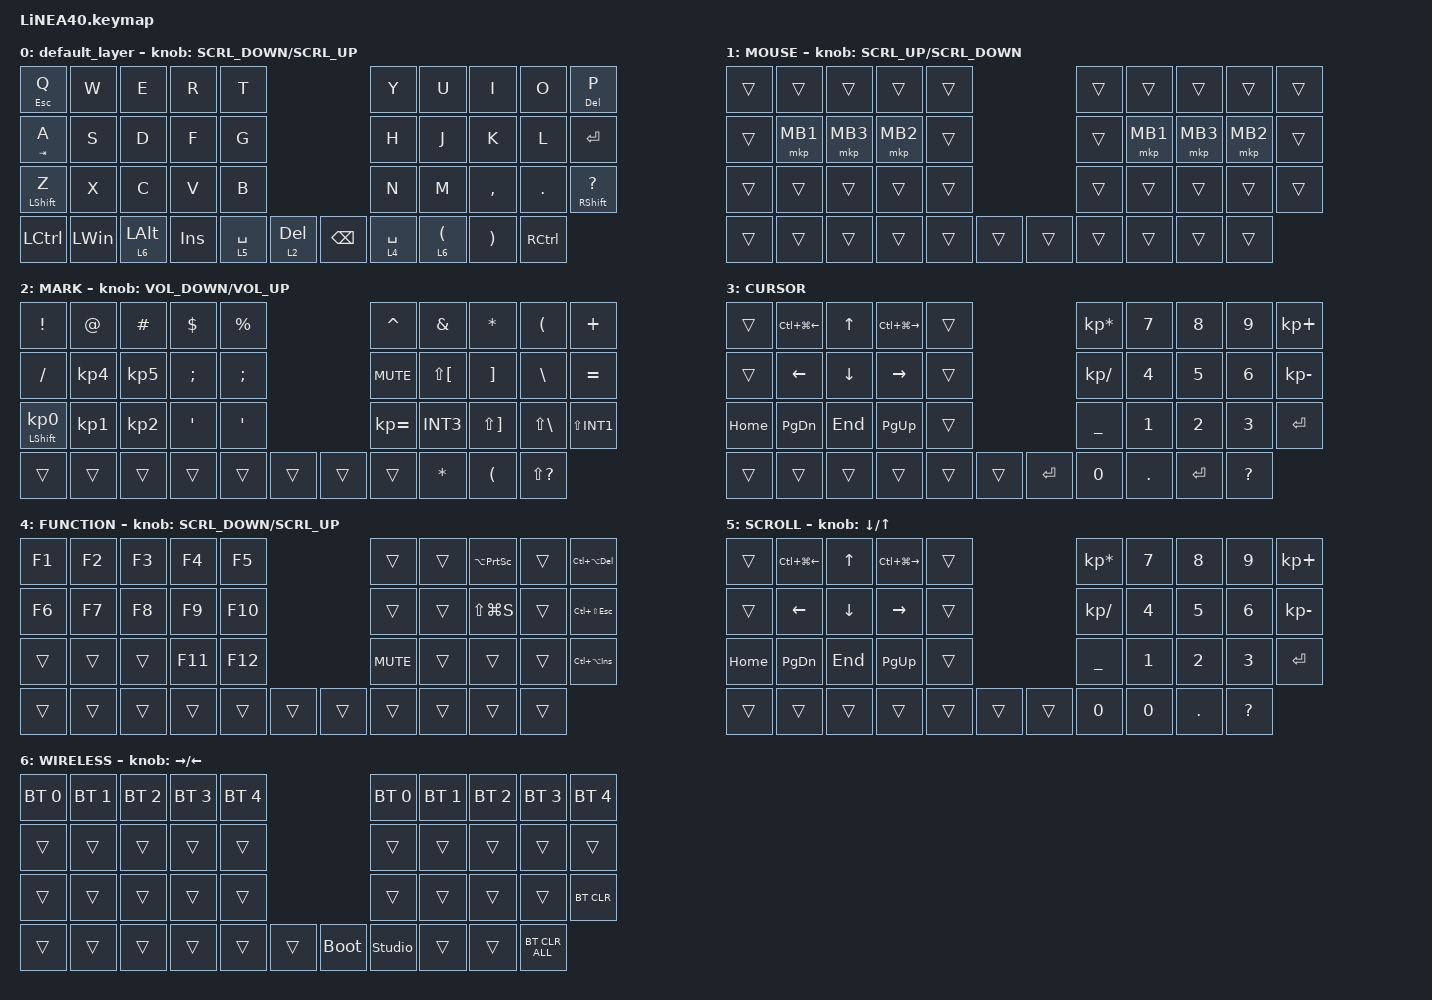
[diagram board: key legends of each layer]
#define ZMK_POINTING_DEFAULT_SCRL_VAL 150

// OS設定を日本語キーボードのまま使用するための変換定義

#define JP_DQUOTE       AT                // "
#define JP_AMPERSAND    CARET             // &
#define JP_QUOTE        AMPERSAND         // '
#define JP_EQUAL        UNDER             // =
#define JP_CARET        EQUAL             // ^
#define JP_YEN          0x89              // ¥
#define JP_PLUS         COLON             // +
#define JP_TILDE        PLUS              // ~
#define JP_PIPE         LS(0x89)          // |
#define JP_AT           LEFT_BRACKET      // @
#define JP_COLON        SINGLE_QUOTE      // :
#define JP_ASTERISK     DOUBLE_QUOTES     // *
#define JP_BACKQUOTE    LEFT_BRACE        // `
#define JP_UNDERSCORE   LS(0x87)          // _
#define JP_LBRACKET     RIGHT_BRACKET     // [
#define JP_RBRACKET     BACKSLASH         // ]
#define JP_LPAREN       ASTERISK          // (
#define JP_RPAREN       LEFT_PARENTHESIS  // )
#define JP_LBRACE       RIGHT_BRACE       // {
#define JP_RBRACE       PIPE              // }
#define JP_KANA         LANGUAGE_1        // かな
#define JP_EISU         LANGUAGE_2        // 英数
#define JP_HANZEN       GRAVE             // 半角/全角

#include <dt-bindings/zmk/input_transform.h>
#include <input/processors.dtsi>
#include <zephyr/dt-bindings/input/input-event-codes.h>
#include <behaviors.dtsi>
#include <dt-bindings/zmk/bt.h>
#include <dt-bindings/zmk/keys.h>
#include <dt-bindings/zmk/pointing.h>

#define MOUSE 1
#define MARK 2
#define CURSOR 3
#define FUNCTION 4
#define SCROLL 5
#define WIRELESS 6

//mouse cursol

&mmv {
    delay-ms = <20>;
    trigger-period-ms = <5>;
    time-to-max-speed-ms = <100>;
    acceleration-exponent = <2>;
};

//mouse scroll

&msc {
    delay-ms = <3>;
    trigger-period-ms = <3>;
    time-to-max-speed-ms = <100>;
    acceleration-exponent = <0>;
};

/ {
    input_processors {
        zip_wheel_scaler: zip_wheel_scaler {
            compatible = "zmk,input-processor-scaler";
            #input-processor-cells = <2>;
            type = <INPUT_EV_REL>;
            codes = <INPUT_REL_WHEEL>;
            track-remainders;
        };
    };
};

&msc_input_listener {
    speed_up {
        layers = <FUNCTION>;
        input-processors = <&zip_wheel_scaler 3 1>; //スクロールを3倍速にする
    };
};

&trackball_listener {
    scroller {
        layers = <SCROLL>;
        input-processors =
            <&zip_xy_transform INPUT_TRANSFORM_Y_INVERT>,
            //スクロール方向を逆転,,,,,,
            <&zip_xy_to_scroll_mapper>;
    };
};

/ {
    combos {
        compatible = "zmk,combos";

        ZenkakuHankaku {
            bindings = <&kp GRAVE>;
            key-positions = <11 12>;
        };

        DeleteKey {
            bindings = <&kp DEL>;
            key-positions = <7 8>;
        };

        InsertKey {
            bindings = <&kp INS>;
            key-positions = <6 7>;
        };

        CenterClick {
            bindings = <&mkp MB3>;
            key-positions = <17 16>;
        };

        RightClick {
            bindings = <&mkp MB2>;
            key-positions = <18 17>;
        };

        PrevClick {
            bindings = <&mkp MB4>;
            key-positions = <27 28>;
        };

        ClickNext {
            bindings = <&mkp MB5>;
            key-positions = <26 27>;
        };
    };

    behaviors {
        re_kp: sensor_rotate_kp {
            compatible = "zmk,behavior-sensor-rotate-var";
            #sensor-binding-cells = <2>;
            bindings = <&kp>, <&kp>;
        };

        mouse_scrl: mouse_wheel_scrl {
            compatible = "zmk,behavior-sensor-rotate-var";
            #sensor-binding-cells = <2>;
            bindings = <&msc>, <&msc>;

            tap-ms = <20>;
        };
    };

    keymap {
        compatible = "zmk,keymap";

        default_layer {
            bindings = <
&mt ESCAPE Q  &kp W         &kp E           &kp R    &kp T                                       &kp Y        &kp U  &kp I                   &kp O                  &mt DELETE P
&mt TAB A     &kp S         &kp D           &kp F    &kp G                                       &kp H        &kp J  &kp K                   &kp L                  &kp ENTER
&mt LSHIFT Z  &kp X         &kp C           &kp V    &kp B                                       &kp N        &kp M  &kp COMMA               &kp DOT                &mt RIGHT_SHIFT QUESTION
&kp LCTRL     &kp LEFT_WIN  &lt 6 LEFT_ALT  &kp INS  &lt 5 SPACE  &lt 2 DELETE    &kp BACKSPACE  &lt 4 SPACE         &lt 6 LEFT_PARENTHESIS  &kp RIGHT_PARENTHESIS  &kp RCTRL
            >;

            sensor-bindings = <&mouse_scrl SCRL_DOWN SCRL_UP>;
        };

        //1

        MOUSE {
            bindings = <
&trans  &trans    &trans    &trans    &trans                    &trans  &trans    &trans    &trans    &trans
&trans  &mkp MB1  &mkp MB3  &mkp MB2  &trans                    &trans  &mkp MB1  &mkp MB3  &mkp MB2  &trans
&trans  &trans    &trans    &trans    &trans                    &trans  &trans    &trans    &trans    &trans
&trans  &trans    &trans    &trans    &trans  &trans    &trans  &trans            &trans    &trans    &trans
            >;

            sensor-bindings = <&mouse_scrl SCRL_UP SCRL_DOWN>;
        };

        //2

        MARK {
            bindings = <
&kp EXCLAMATION             &kp AT           &kp HASH         &kp DOLLAR     &kp PERCENT                      &kp CARET     &kp AMPERSAND  &kp ASTERISK           &kp LEFT_PARENTHESIS  &kp PLUS
&kp SLASH                   &kp KP_NUMBER_4  &kp KP_NUMBER_5  &kp SEMICOLON  &kp SEMICOLON                    &kp C_MUTE    &kp LS(LBKT)   &kp RIGHT_BRACKET      &kp BACKSLASH         &kp EQUAL
&mt LEFT_SHIFT KP_NUMBER_0  &kp KP_NUMBER_1  &kp KP_NUMBER_2  &kp APOS       &kp SQT                          &kp KP_EQUAL  &kp INT3       &kp LS(RIGHT_BRACKET)  &kp LS(BACKSLASH)     &kp LS(INT1)
&trans                      &trans           &trans           &trans         &trans         &trans    &trans  &trans                       &kp ASTERISK           &kp LEFT_PARENTHESIS  &kp LS(QUESTION)
            >;

            sensor-bindings = <&re_kp C_VOLUME_DOWN C_VOLUME_UP>;
        };

        //3

        CURSOR {
            bindings = <
&trans    &kp LC(LG(LEFT_ARROW))  &kp UP_ARROW  &kp LC(LG(RIGHT_ARROW))  &trans                       &kp KP_MULTIPLY  &kp NUMBER_7  &kp NUMBER_8  &kp NUMBER_9  &kp KP_PLUS
&trans    &kp LEFT_ARROW          &kp DOWN      &kp RIGHT_ARROW          &trans                       &kp KP_SLASH     &kp NUMBER_4  &kp NUMBER_5  &kp NUMBER_6  &kp KP_MINUS
&kp HOME  &kp PAGE_DOWN           &kp END       &kp PAGE_UP              &trans                       &kp UNDER        &kp NUMBER_1  &kp NUMBER_2  &kp NUMBER_3  &kp ENTER
&trans    &trans                  &trans        &trans                   &trans  &trans    &kp ENTER  &kp NUMBER_0                   &kp DOT       &kp ENTER     &kp QUESTION
            >;
        };

        //4

        FUNCTION {
            bindings = <
&kp F1  &kp F2  &kp F3  &kp F4   &kp F5                     &trans      &trans  &kp LA(PRINTSCREEN)  &trans  &kp LC(LA(DELETE))
&kp F6  &kp F7  &kp F8  &kp F9   &kp F10                    &trans      &trans  &kp LS(LG(S))        &trans  &kp LC(LS(ESCAPE))
&trans  &trans  &trans  &kp F11  &kp F12                    &kp C_MUTE  &trans  &trans               &trans  &kp LC(LA(INS))
&trans  &trans  &trans  &trans   &trans   &trans    &trans  &trans              &trans               &trans  &trans
            >;

            sensor-bindings = <&mouse_scrl SCRL_DOWN SCRL_UP>;
        };

        //5

        SCROLL {
            bindings = <
&trans    &kp LC(LG(LEFT_ARROW))  &kp UP_ARROW  &kp LC(LG(RIGHT_ARROW))  &trans                    &kp KP_MULTIPLY  &kp NUMBER_7  &kp NUMBER_8  &kp NUMBER_9  &kp KP_PLUS
&trans    &kp LEFT_ARROW          &kp DOWN      &kp RIGHT_ARROW          &trans                    &kp KP_SLASH     &kp NUMBER_4  &kp NUMBER_5  &kp NUMBER_6  &kp KP_MINUS
&kp HOME  &kp PAGE_DOWN           &kp END       &kp PAGE_UP              &trans                    &kp UNDER        &kp NUMBER_1  &kp NUMBER_2  &kp NUMBER_3  &kp ENTER
&trans    &trans                  &trans        &trans                   &trans  &trans    &trans  &kp NUMBER_0                   &kp NUMBER_0  &kp DOT       &kp QUESTION
            >;

            sensor-bindings = <&inc_dec_kp DOWN_ARROW UP_ARROW>;
        };

        //6

        WIRELESS {
            bindings = <
&bt BT_SEL 0  &bt BT_SEL 1  &bt BT_SEL 2  &bt BT_SEL 3  &bt BT_SEL 4                         &bt BT_SEL 0    &bt BT_SEL 1  &bt BT_SEL 2  &bt BT_SEL 3  &bt BT_SEL 4
&trans        &trans        &trans        &trans        &trans                               &trans          &trans        &trans        &trans        &trans
&trans        &trans        &trans        &trans        &trans                               &trans          &trans        &trans        &trans        &bt BT_CLR
&trans        &trans        &trans        &trans        &trans        &trans    &bootloader  &studio_unlock                &trans        &trans        &bt BT_CLR_ALL
            >;

            sensor-bindings = <&inc_dec_kp RIGHT_ARROW LEFT_ARROW>;
        };
    };
};
